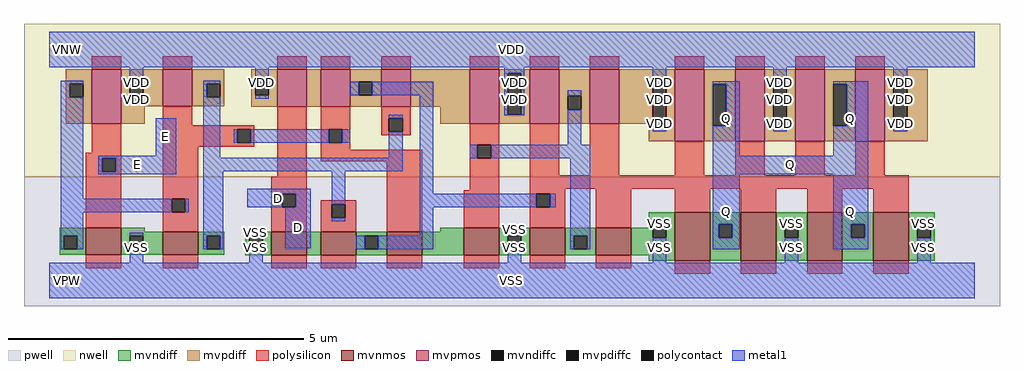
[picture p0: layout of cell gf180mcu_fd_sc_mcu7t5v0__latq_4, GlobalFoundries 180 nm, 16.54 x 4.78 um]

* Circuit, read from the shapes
.subckt gf180mcu_fd_sc_mcu7t5v0__latq_4 D E Q VDD VNW VPW VSS
XM1 VSS E n1 VPW nfet_06v0 w=0.46u l=0.6u
XM2 n2 n1 VSS VPW nfet_06v0 w=0.39u l=0.6u
XM3 n3 D VSS VPW nfet_06v0 w=0.395u l=0.6u
XM4 n4 n2 n3 VPW nfet_06v0 w=0.395u l=0.6u
XM5 n5 n1 n4 VPW nfet_06v0 w=0.395u l=0.6u
XM6 VSS n6 n5 VPW nfet_06v0 w=0.465u l=0.6u
XM7 n6 n4 VSS VPW nfet_06v0 w=0.465u l=0.6u m=2
XM8 Q n4 VSS VPW nfet_06v0 w=0.82u l=0.6u m=4
XM9 VDD E n1 VNW pfet_06v0 w=0.92u l=0.5u
XM10 n2 n1 VDD VNW pfet_06v0 w=0.625u l=0.5u
XM11 n7 D VDD VNW pfet_06v0 w=0.63u l=0.5u
XM12 n4 n1 n7 VNW pfet_06v0 w=0.63u l=0.5u
XM13 n8 n2 n4 VNW pfet_06v0 w=0.63u l=0.5u
XM14 VDD n6 n8 VNW pfet_06v0 w=0.925u l=0.5u
XM15 n6 n4 VDD VNW pfet_06v0 w=0.925u l=0.5u m=2
XM16 Q n4 VDD VNW pfet_06v0 w=1.22u l=0.5u m=4
.ends

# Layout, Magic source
magic
tech gf180mcuD
magscale 1 10
<< nwell >>
rect -86 352 3222 870
<< pwell >>
rect -86 -86 3222 352
<< mvnmos >>
rect 124 87 244 179
rect 384 87 504 165
rect 752 86 872 165
rect 920 86 1040 165
rect 1144 86 1264 165
rect 1404 86 1524 179
rect 1628 86 1748 179
rect 1852 86 1972 179
rect 2120 68 2240 232
rect 2344 68 2464 232
rect 2568 68 2688 232
rect 2792 68 2912 232
<< mvpmos >>
rect 144 532 244 716
rect 384 591 484 716
rect 772 590 872 716
rect 920 590 1020 716
rect 1124 590 1224 716
rect 1424 531 1524 716
rect 1628 531 1728 716
rect 1832 531 1932 716
rect 2120 472 2220 716
rect 2324 472 2424 716
rect 2528 472 2628 716
rect 2732 472 2832 716
<< mvndiff >>
rect 36 152 124 179
rect 36 106 49 152
rect 95 106 124 152
rect 36 87 124 106
rect 244 165 324 179
rect 2032 192 2120 232
rect 2032 179 2045 192
rect 1324 165 1404 179
rect 244 152 384 165
rect 244 106 273 152
rect 319 106 384 152
rect 244 87 384 106
rect 504 152 592 165
rect 504 106 533 152
rect 579 106 592 152
rect 504 87 592 106
rect 664 152 752 165
rect 664 106 677 152
rect 723 106 752 152
rect 664 86 752 106
rect 872 86 920 165
rect 1040 152 1144 165
rect 1040 106 1069 152
rect 1115 106 1144 152
rect 1040 86 1144 106
rect 1264 86 1404 165
rect 1524 152 1628 179
rect 1524 106 1553 152
rect 1599 106 1628 152
rect 1524 86 1628 106
rect 1748 152 1852 179
rect 1748 106 1777 152
rect 1823 106 1852 152
rect 1748 86 1852 106
rect 1972 146 2045 179
rect 2091 146 2120 192
rect 1972 86 2120 146
rect 2032 68 2120 86
rect 2240 192 2344 232
rect 2240 146 2269 192
rect 2315 146 2344 192
rect 2240 68 2344 146
rect 2464 192 2568 232
rect 2464 146 2493 192
rect 2539 146 2568 192
rect 2464 68 2568 146
rect 2688 192 2792 232
rect 2688 146 2717 192
rect 2763 146 2792 192
rect 2688 68 2792 146
rect 2912 192 3000 232
rect 2912 146 2941 192
rect 2987 146 3000 192
rect 2912 68 3000 146
<< mvpdiff >>
rect 56 667 144 716
rect 56 621 69 667
rect 115 621 144 667
rect 56 532 144 621
rect 244 667 384 716
rect 244 621 273 667
rect 319 621 384 667
rect 244 591 384 621
rect 484 667 592 716
rect 484 621 533 667
rect 579 621 592 667
rect 484 591 592 621
rect 684 674 772 716
rect 684 628 697 674
rect 743 628 772 674
rect 244 532 324 591
rect 684 590 772 628
rect 872 590 920 716
rect 1020 674 1124 716
rect 1020 628 1049 674
rect 1095 628 1124 674
rect 1020 590 1124 628
rect 1224 590 1424 716
rect 1324 531 1424 590
rect 1524 703 1628 716
rect 1524 563 1553 703
rect 1599 563 1628 703
rect 1524 531 1628 563
rect 1728 626 1832 716
rect 1728 580 1757 626
rect 1803 580 1832 626
rect 1728 531 1832 580
rect 1932 665 2120 716
rect 1932 531 2045 665
rect 2032 525 2045 531
rect 2091 525 2120 665
rect 2032 472 2120 525
rect 2220 665 2324 716
rect 2220 525 2249 665
rect 2295 525 2324 665
rect 2220 472 2324 525
rect 2424 665 2528 716
rect 2424 525 2453 665
rect 2499 525 2528 665
rect 2424 472 2528 525
rect 2628 665 2732 716
rect 2628 525 2657 665
rect 2703 525 2732 665
rect 2628 472 2732 525
rect 2832 665 2977 716
rect 2832 525 2861 665
rect 2907 525 2977 665
rect 2832 472 2977 525
<< mvndiffc >>
rect 49 106 95 152
rect 273 106 319 152
rect 533 106 579 152
rect 677 106 723 152
rect 1069 106 1115 152
rect 1553 106 1599 152
rect 1777 106 1823 152
rect 2045 146 2091 192
rect 2269 146 2315 192
rect 2493 146 2539 192
rect 2717 146 2763 192
rect 2941 146 2987 192
<< mvpdiffc >>
rect 69 621 115 667
rect 273 621 319 667
rect 533 621 579 667
rect 697 628 743 674
rect 1049 628 1095 674
rect 1553 563 1599 703
rect 1757 580 1803 626
rect 2045 525 2091 665
rect 2249 525 2295 665
rect 2453 525 2499 665
rect 2657 525 2703 665
rect 2861 525 2907 665
<< polysilicon >>
rect 144 716 244 760
rect 384 716 484 760
rect 772 716 872 760
rect 920 716 1020 760
rect 1124 716 1224 760
rect 1424 716 1524 760
rect 1628 716 1728 760
rect 1832 716 1932 760
rect 2120 716 2220 760
rect 2324 716 2424 760
rect 2528 716 2628 760
rect 2732 716 2832 760
rect 144 433 244 532
rect 124 415 244 433
rect 124 369 179 415
rect 225 369 244 415
rect 124 179 244 369
rect 384 526 484 591
rect 384 513 695 526
rect 384 467 636 513
rect 682 467 695 513
rect 384 454 695 467
rect 384 278 504 454
rect 772 352 872 590
rect 920 513 1020 590
rect 920 467 947 513
rect 993 467 1020 513
rect 1124 551 1224 590
rect 1124 505 1151 551
rect 1197 505 1224 551
rect 1124 492 1224 505
rect 920 444 1020 467
rect 1424 461 1524 531
rect 920 404 1264 444
rect 384 232 415 278
rect 461 232 504 278
rect 384 165 504 232
rect 752 295 872 352
rect 752 249 789 295
rect 835 249 872 295
rect 752 165 872 249
rect 920 259 1040 272
rect 920 213 957 259
rect 1003 213 1040 259
rect 920 165 1040 213
rect 1144 165 1264 404
rect 1424 415 1451 461
rect 1497 415 1524 461
rect 1424 307 1524 415
rect 1404 179 1524 307
rect 1628 357 1728 531
rect 1832 357 1932 531
rect 2120 357 2220 472
rect 2324 357 2424 472
rect 2528 357 2628 472
rect 2732 357 2832 472
rect 1628 311 2912 357
rect 1628 295 1748 311
rect 1628 249 1651 295
rect 1697 249 1748 295
rect 1628 179 1748 249
rect 1852 179 1972 311
rect 2120 232 2240 311
rect 2344 232 2464 311
rect 2568 232 2688 311
rect 2792 232 2912 311
rect 124 42 244 87
rect 384 42 504 87
rect 752 42 872 86
rect 920 42 1040 86
rect 1144 42 1264 86
rect 1404 42 1524 86
rect 1628 42 1748 86
rect 1852 42 1972 86
rect 2120 24 2240 68
rect 2344 24 2464 68
rect 2568 24 2688 68
rect 2792 24 2912 68
<< polycontact >>
rect 179 369 225 415
rect 636 467 682 513
rect 947 467 993 513
rect 1151 505 1197 551
rect 415 232 461 278
rect 789 249 835 295
rect 957 213 1003 259
rect 1451 415 1497 461
rect 1651 249 1697 295
<< metal1 >>
rect 0 724 3136 844
rect 38 667 115 678
rect 38 621 69 667
rect 38 278 115 621
rect 273 667 319 724
rect 273 610 319 621
rect 522 667 579 678
rect 522 621 533 667
rect 360 424 430 550
rect 165 415 430 424
rect 165 369 179 415
rect 225 369 430 415
rect 165 360 430 369
rect 522 417 579 621
rect 697 674 743 724
rect 1541 703 1610 724
rect 1020 628 1049 674
rect 1095 628 1301 674
rect 697 617 743 628
rect 1151 551 1197 562
rect 625 467 636 513
rect 682 467 947 513
rect 993 467 1020 513
rect 1151 417 1197 505
rect 522 371 1197 417
rect 38 232 415 278
rect 461 232 472 278
rect 38 152 115 232
rect 38 106 49 152
rect 95 106 115 152
rect 273 152 319 163
rect 522 152 590 371
rect 670 295 886 312
rect 670 249 789 295
rect 835 249 886 295
rect 670 248 886 249
rect 522 106 533 152
rect 579 106 590 152
rect 677 152 723 165
rect 800 110 886 248
rect 957 259 1003 371
rect 957 202 1003 213
rect 1255 295 1301 628
rect 1541 563 1553 703
rect 1599 563 1610 703
rect 2045 665 2091 724
rect 1541 561 1610 563
rect 1757 626 1803 645
rect 1757 461 1803 580
rect 2045 506 2091 525
rect 2248 665 2340 676
rect 2248 525 2249 665
rect 2295 525 2340 665
rect 1424 415 1451 461
rect 1497 415 1834 461
rect 1255 249 1651 295
rect 1697 249 1716 295
rect 1255 152 1301 249
rect 1040 106 1069 152
rect 1115 106 1301 152
rect 1553 152 1599 179
rect 1766 152 1834 415
rect 2248 424 2340 525
rect 2453 665 2499 724
rect 2453 506 2499 525
rect 2656 665 2776 676
rect 2656 525 2657 665
rect 2703 525 2776 665
rect 2656 424 2776 525
rect 2861 665 2907 724
rect 2861 506 2907 525
rect 2248 360 2776 424
rect 1766 106 1777 152
rect 1823 106 1834 152
rect 2045 192 2091 211
rect 273 60 319 106
rect 677 60 723 106
rect 1553 60 1599 106
rect 2045 60 2091 146
rect 2248 192 2340 360
rect 2248 146 2269 192
rect 2315 146 2340 192
rect 2248 106 2340 146
rect 2493 192 2539 211
rect 2493 60 2539 146
rect 2656 192 2776 360
rect 2656 146 2717 192
rect 2763 146 2776 192
rect 2656 106 2776 146
rect 2941 192 2987 211
rect 2941 60 2987 146
rect 0 -60 3136 60
<< labels >>
flabel metal1 s 2656 424 2776 676 0 FreeSans 400 0 0 0 Q
port 3 nsew default output
flabel metal1 s 0 724 3136 844 0 FreeSans 400 0 0 0 VDD
port 4 nsew power bidirectional abutment
flabel metal1 s 2941 179 2987 211 0 FreeSans 400 0 0 0 VSS
port 7 nsew ground bidirectional abutment
flabel metal1 s 670 248 886 312 0 FreeSans 400 0 0 0 D
port 1 nsew default input
flabel metal1 s 360 424 430 550 0 FreeSans 400 0 0 0 E
port 2 nsew clock input
flabel nwell s 10 734 110 834 0 FreeSans 400 0 0 0 VNW
port 5 nsew power bidirectional
flabel pwell s 10 -50 110 50 0 FreeSans 400 0 0 0 VPW
port 6 nsew ground bidirectional
rlabel metal1 s 800 110 886 248 1 D
port 1 nsew default input
rlabel metal1 s 165 360 430 424 1 E
port 2 nsew clock input
rlabel metal1 s 2248 424 2340 676 1 Q
port 3 nsew default output
rlabel metal1 s 2248 360 2776 424 1 Q
port 3 nsew default output
rlabel metal1 s 2656 106 2776 360 1 Q
port 3 nsew default output
rlabel metal1 s 2248 106 2340 360 1 Q
port 3 nsew default output
rlabel metal1 s 2861 617 2907 724 1 VDD
port 4 nsew power bidirectional abutment
rlabel metal1 s 2453 617 2499 724 1 VDD
port 4 nsew power bidirectional abutment
rlabel metal1 s 2045 617 2091 724 1 VDD
port 4 nsew power bidirectional abutment
rlabel metal1 s 1541 617 1610 724 1 VDD
port 4 nsew power bidirectional abutment
rlabel metal1 s 697 617 743 724 1 VDD
port 4 nsew power bidirectional abutment
rlabel metal1 s 273 617 319 724 1 VDD
port 4 nsew power bidirectional abutment
rlabel metal1 s 2861 610 2907 617 1 VDD
port 4 nsew power bidirectional abutment
rlabel metal1 s 2453 610 2499 617 1 VDD
port 4 nsew power bidirectional abutment
rlabel metal1 s 2045 610 2091 617 1 VDD
port 4 nsew power bidirectional abutment
rlabel metal1 s 1541 610 1610 617 1 VDD
port 4 nsew power bidirectional abutment
rlabel metal1 s 273 610 319 617 1 VDD
port 4 nsew power bidirectional abutment
rlabel metal1 s 2861 561 2907 610 1 VDD
port 4 nsew power bidirectional abutment
rlabel metal1 s 2453 561 2499 610 1 VDD
port 4 nsew power bidirectional abutment
rlabel metal1 s 2045 561 2091 610 1 VDD
port 4 nsew power bidirectional abutment
rlabel metal1 s 1541 561 1610 610 1 VDD
port 4 nsew power bidirectional abutment
rlabel metal1 s 2861 506 2907 561 1 VDD
port 4 nsew power bidirectional abutment
rlabel metal1 s 2453 506 2499 561 1 VDD
port 4 nsew power bidirectional abutment
rlabel metal1 s 2045 506 2091 561 1 VDD
port 4 nsew power bidirectional abutment
rlabel metal1 s 2493 179 2539 211 1 VSS
port 7 nsew ground bidirectional abutment
rlabel metal1 s 2045 179 2091 211 1 VSS
port 7 nsew ground bidirectional abutment
rlabel metal1 s 2941 165 2987 179 1 VSS
port 7 nsew ground bidirectional abutment
rlabel metal1 s 2493 165 2539 179 1 VSS
port 7 nsew ground bidirectional abutment
rlabel metal1 s 2045 165 2091 179 1 VSS
port 7 nsew ground bidirectional abutment
rlabel metal1 s 1553 165 1599 179 1 VSS
port 7 nsew ground bidirectional abutment
rlabel metal1 s 2941 163 2987 165 1 VSS
port 7 nsew ground bidirectional abutment
rlabel metal1 s 2493 163 2539 165 1 VSS
port 7 nsew ground bidirectional abutment
rlabel metal1 s 2045 163 2091 165 1 VSS
port 7 nsew ground bidirectional abutment
rlabel metal1 s 1553 163 1599 165 1 VSS
port 7 nsew ground bidirectional abutment
rlabel metal1 s 677 163 723 165 1 VSS
port 7 nsew ground bidirectional abutment
rlabel metal1 s 2941 60 2987 163 1 VSS
port 7 nsew ground bidirectional abutment
rlabel metal1 s 2493 60 2539 163 1 VSS
port 7 nsew ground bidirectional abutment
rlabel metal1 s 2045 60 2091 163 1 VSS
port 7 nsew ground bidirectional abutment
rlabel metal1 s 1553 60 1599 163 1 VSS
port 7 nsew ground bidirectional abutment
rlabel metal1 s 677 60 723 163 1 VSS
port 7 nsew ground bidirectional abutment
rlabel metal1 s 273 60 319 163 1 VSS
port 7 nsew ground bidirectional abutment
rlabel metal1 s 0 -60 3136 60 1 VSS
port 7 nsew ground bidirectional abutment
<< properties >>
string FIXED_BBOX 0 0 3136 784
string GDS_END 598052
string GDS_FILE $PDKPATH/libs.ref/gf180mcu_fd_sc_mcu7t5v0/gds/gf180mcu_fd_sc_mcu7t5v0.gds
string GDS_START 591666
string LEFclass core
string LEFsite GF018hv5v_mcu_sc7
string LEFsymmetry X Y
<< end >>
